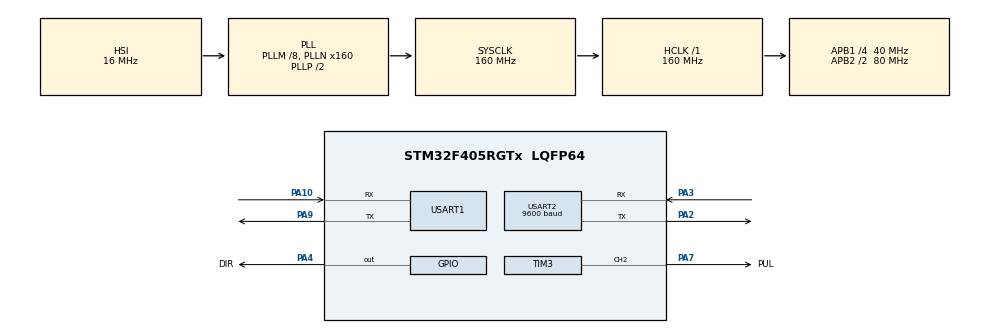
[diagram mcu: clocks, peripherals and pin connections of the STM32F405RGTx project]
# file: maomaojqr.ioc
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FREERTOS.Tasks01=defaultTask,24,128,StartDefaultTask,Default,NULL,Dynamic,NULL,NULL
Mcu.Family=STM32F4
Mcu.Name=STM32F405RGTx
Mcu.Package=LQFP64
NVIC.PriorityGroup=NVIC_PRIORITYGROUP_4
NVIC.TIM3_IRQn=true\:5\:0\:false\:false\:true\:true\:true\:true\:true
NVIC.USART1_IRQn=true\:5\:0\:false\:false\:true\:true\:true\:true\:true
PA10.Mode=Asynchronous
PA10.Signal=USART1_RX
PA13.Mode=Serial_Wire
PA13.Signal=SYS_JTMS-SWDIO
PA14.Mode=Serial_Wire
PA14.Signal=SYS_JTCK-SWCLK
PA2.Mode=Asynchronous
PA2.Signal=USART2_TX
PA3.Mode=Asynchronous
PA3.Signal=USART2_RX
PA4.GPIO_Label=DIR
PA4.Signal=GPIO_Output
PA7.GPIO_Label=PUL
PA7.Signal=S_TIM3_CH2
PA9.Mode=Asynchronous
PA9.Signal=USART1_TX
PH0-OSC_IN.Mode=HSE-External-Oscillator
PH0-OSC_IN.Signal=RCC_OSC_IN
PH1-OSC_OUT.Mode=HSE-External-Oscillator
PH1-OSC_OUT.Signal=RCC_OSC_OUT
ProjectManager.HeapSize=0x200
ProjectManager.StackSize=0x400
ProjectManager.TargetToolchain=MDK-ARM V5.32
RCC.48MHZClocksFreq_Value=80000000
RCC.AHBFreq_Value=160000000
RCC.APB1CLKDivider=RCC_HCLK_DIV4
RCC.APB1Freq_Value=40000000
RCC.APB1TimFreq_Value=80000000
RCC.APB2CLKDivider=RCC_HCLK_DIV2
RCC.APB2Freq_Value=80000000
RCC.APB2TimFreq_Value=160000000
RCC.CortexFreq_Value=160000000
RCC.HCLKFreq_Value=160000000
RCC.HSE_VALUE=25000000
RCC.HSI_VALUE=16000000
RCC.LSE_VALUE=32768
RCC.PLLM=8
RCC.PLLN=160
RCC.SYSCLKFreq_VALUE=160000000
RCC.SYSCLKSource=RCC_SYSCLKSOURCE_PLLCLK
RCC.VCOOutputFreq_Value=320000000
SH.S_TIM3_CH2.0=TIM3_CH2,PWM Generation2 CH2
TIM3.Channel-PWM\ Generation2\ CH2=TIM_CHANNEL_2
TIM3.Period=1600
TIM3.Prescaler=80-1
USART1.VirtualMode=VM_ASYNC
USART2.BaudRate=9600
USART2.VirtualMode=VM_ASYNC
VP_FREERTOS_VS_CMSIS_V2.Mode=CMSIS_V2
board=custom

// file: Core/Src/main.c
/* USER CODE BEGIN Header */
/**
  ******************************************************************************
  * @file           : main.c
  * @brief          : Main program body
  ******************************************************************************
  * @attention
  *
  * Copyright (c) 2023 STMicroelectronics.
  * All rights reserved.
  *
  * This software is licensed under terms that can be found in the LICENSE file
  * in the root directory of this software component.
  * If no LICENSE file comes with this software, it is provided AS-IS.
  *
  ******************************************************************************
  */
/* USER CODE END Header */
#include "main.h"
#include "cmsis_os.h"
#include "tim.h"
#include "usart.h"
#include "gpio.h"

/* USER CODE BEGIN Includes */
#include "my_lib.h"
#include "bool.h"
#include "LobotServoController.h"
#include "RxBuf.h"
/* USER CODE END Includes */

/* USER CODE BEGIN PTD */
int QuanShu;//圈速
int ITjishu;//中断计数
bool isUartRxCompleted;//bool
uint8_t Rxchar;
uint8_t RxCnt = 0;
stRingBuf stRev = {0,0,0};
uint8_t Rxchar;
uint16_t Fluat_CNT = 0;
int Receive_Need_Analysis = 0;
uint8_t CH9350_start_Sending[]={0x57,0xAB,0x12,0x00,0x00,0x00,0x00,0xFF,0x80,0x00,0x20};
/* USER CODE END PTD */

void SystemClock_Config(void);
void MX_FREERTOS_Init(void);

int main(void)
{

  /* MCU Configuration--------------------------------------------------------*/

  /* Reset of all peripherals, Initializes the Flash interface and the Systick. */
  HAL_Init();

  /* Configure the system clock */
  SystemClock_Config();

  /* Initialize all configured peripherals */
  MX_GPIO_Init();
  MX_TIM3_Init();
  MX_USART2_UART_Init();
  MX_USART1_UART_Init();
  /* USER CODE BEGIN 2 */
HAL_TIM_Base_Start_IT(&htim3);//启动定时器中断
HAL_TIM_PWM_Start(&htim3,TIM_CHANNEL_2);//启动定时器中断
HAL_UART_Receive_IT(&huart1, &Rxchar,1);
  /* USER CODE END 2 */

  /* Init scheduler */
  osKernelInitialize();  /* Call init function for freertos objects (in freertos.c) */
  MX_FREERTOS_Init();

  /* Start scheduler */
  osKernelStart();

  /* We should never get here as control is now taken by the scheduler */
  /* Infinite loop */
  while (1)
  {

  }
}

void SystemClock_Config(void)
{
  RCC_OscInitTypeDef RCC_OscInitStruct = {0};
  RCC_ClkInitTypeDef RCC_ClkInitStruct = {0};

  /** Configure the main internal regulator output voltage
  */
  __HAL_RCC_PWR_CLK_ENABLE();
  __HAL_PWR_VOLTAGESCALING_CONFIG(PWR_REGULATOR_VOLTAGE_SCALE1);

  /** Initializes the RCC Oscillators according to the specified parameters
  * in the RCC_OscInitTypeDef structure.
  */
  RCC_OscInitStruct.OscillatorType = RCC_OSCILLATORTYPE_HSI;
  RCC_OscInitStruct.HSIState = RCC_HSI_ON;
  RCC_OscInitStruct.HSICalibrationValue = RCC_HSICALIBRATION_DEFAULT;
  RCC_OscInitStruct.PLL.PLLState = RCC_PLL_ON;
  RCC_OscInitStruct.PLL.PLLSource = RCC_PLLSOURCE_HSI;
  RCC_OscInitStruct.PLL.PLLM = 8;
  RCC_OscInitStruct.PLL.PLLN = 160;
  RCC_OscInitStruct.PLL.PLLP = RCC_PLLP_DIV2;
  RCC_OscInitStruct.PLL.PLLQ = 4;
  if (HAL_RCC_OscConfig(&RCC_OscInitStruct) != HAL_OK)
  {
    Error_Handler();
  }

  /** Initializes the CPU, AHB and APB buses clocks
  */
  RCC_ClkInitStruct.ClockType = RCC_CLOCKTYPE_HCLK|RCC_CLOCKTYPE_SYSCLK
                              |RCC_CLOCKTYPE_PCLK1|RCC_CLOCKTYPE_PCLK2;
  RCC_ClkInitStruct.SYSCLKSource = RCC_SYSCLKSOURCE_PLLCLK;
  RCC_ClkInitStruct.AHBCLKDivider = RCC_SYSCLK_DIV1;
  RCC_ClkInitStruct.APB1CLKDivider = RCC_HCLK_DIV4;
  RCC_ClkInitStruct.APB2CLKDivider = RCC_HCLK_DIV2;

  if (HAL_RCC_ClockConfig(&RCC_ClkInitStruct, FLASH_LATENCY_5) != HAL_OK)
  {
    Error_Handler();
  }
}

/* USER CODE BEGIN 4 */
void HAL_TIM_PeriodElapsedCallback(TIM_HandleTypeDef *htim)		//中断溢出服务函数，每一个周期进入一次中断
{
  if (htim == (&htim3))
    {
      ITjishu++;
		if(ITjishu>=640000)	//3200个脉冲=1圈
		{
		__HAL_TIM_SetCompare(&htim3, TIM_CHANNEL_2, 0);//设置脉冲为0，转完一圈就停
		ITjishu=0;
		}
    }

}

void HAL_UART_RxCpltCallback(UART_HandleTypeDef *huart)
{
//	if(huart->Instance == huart4.Instance)
//	{
//		memcpy(RealRxBuffer, DMARxBuffer, 16);
//		Analysis_DMA();
//		memset(DMARxBuffer, 0, 16);

//		HAL_UART_Receive_DMA(&huart4, DMARxBuffer, 16);
//	}
	if(huart->Instance == huart1.Instance)
	{
		RxCnt++;
		WriteOneByte(&stRev,Rxchar);
		if(RxCnt == 9)
		{
			RxCnt = 9;
			for(int i=0;i<14;i++)
				ReadOneByte(&stRev,&RxBuffer[i]);
			    Receive_Need_Analysis = 1;

		}
    while(HAL_UART_GetState(&huart1) != HAL_UART_STATE_READY)
		{
			HAL_UART_Abort(&huart1);
			Fluat_CNT ++ ;
		}
    while(HAL_UART_Receive_IT(&huart1,&Rxchar,1) != HAL_OK)
		{
            huart1.RxState=HAL_UART_STATE_READY;
            __HAL_UNLOCK(&huart1);

		}

//		if((__HAL_UART_GET_FLAG(&huart4, UART_FLAG_RXNE)) || (__HAL_UART_GET_FLAG(&huart4, UART_FLAG_ORE)))
//		{
//			__HAL_UART_CLEAR_FLAG(&huart4, UART_FLAG_ORE);
//			__HAL_UART_CLEAR_FLAG(&huart4, UART_FLAG_RXNE);
//		}
         HAL_UART_Receive_IT(&huart1,&Rxchar,1);

	}
}
/* USER CODE END 4 */

void Error_Handler(void)
{
  __disable_irq();
  while (1)
  {
  }
}
